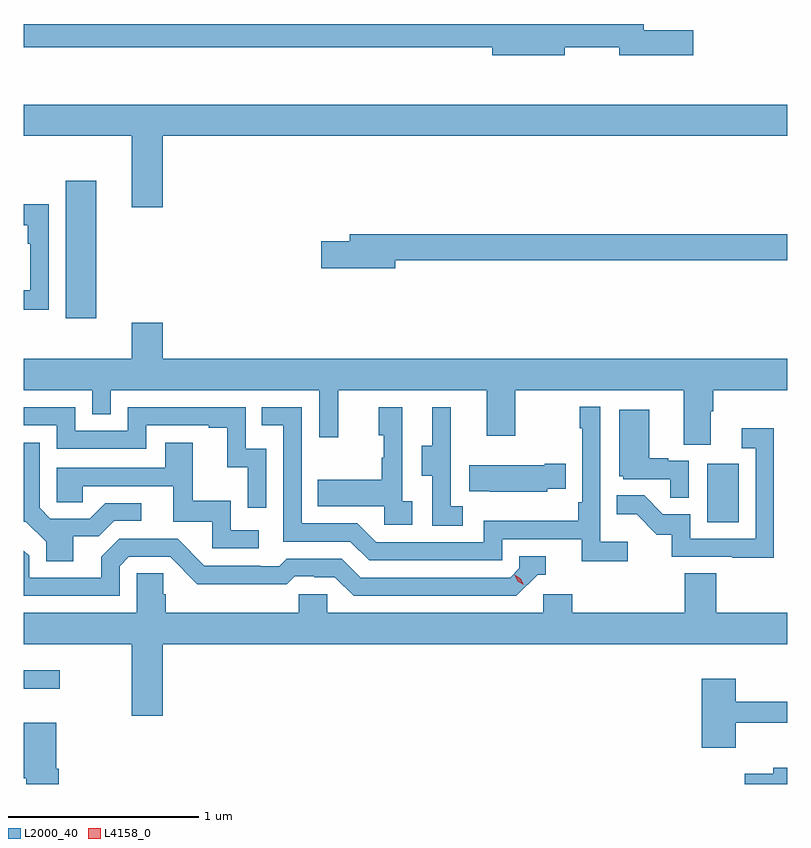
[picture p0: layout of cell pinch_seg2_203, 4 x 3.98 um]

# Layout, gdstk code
import gdstk
lib = gdstk.Library(unit=1e-6, precision=1e-09)
def R(c, l, rs):  # rectangles x0, y0, x1, y1
    for r in rs: c.add(gdstk.rectangle(r[:2], r[2:], *l))
def P(c, l, *ps):  # polygons
    for p in ps: c.add(gdstk.Polygon(p, *l))
L2000_40 = (2000, 40)
L4158_0 = (4158, 0)

pinch_seg2_203 = lib.new_cell('pinch_seg2_203')
R(pinch_seg2_203, L2000_40, [(967.64,658.059,967.828,658.156), (971.222,658.932,971.386,659.239), (967.859,660,968.02,660.721)])
P(pinch_seg2_203, L2000_40, [(970.474,661.422),(970.76,661.422),(970.76,661.379),(971.149,661.379),(971.149,661.509),(970.888,661.509),(970.888,661.543),(967.64,661.543),(967.64,661.422),(970.094,661.422),(970.094,661.379),(970.474,661.379)],
  [(968.368,660.956),(971.64,660.956),(971.64,661.12),(967.64,661.12),(967.64,660.956),(968.204,660.956),(968.204,660.582),(968.368,660.582)],
  [(967.77,660.598),(967.64,660.598),(967.64,660.488),(967.661,660.488),(967.661,660.392),(967.674,660.392),(967.674,660.147),(967.64,660.147),(967.64,660.046),(967.77,660.046)],
  [(969.586,660.304),(971.64,660.304),(971.64,660.44),(969.347,660.44),(969.347,660.404),(969.198,660.404),(969.198,660.262),(969.586,660.262)],
  [(971.239,659.512),(971.252,659.512),(971.252,659.624),(971.64,659.624),(971.64,659.788),(968.368,659.788),(968.368,659.977),(968.204,659.977),(968.204,659.788),(967.64,659.788),(967.64,659.624),(967.998,659.624),(967.998,659.497),(968.094,659.497),(968.094,659.624),(969.189,659.624),(969.189,659.376),(969.287,659.376),(969.287,659.624),(970.067,659.624),(970.067,659.385),(970.215,659.385),(970.215,659.624),(971.099,659.624),(971.099,659.338),(971.239,659.338)],
  [(970.804,658.828),(970.662,658.828),(970.662,659.536),(970.554,659.536),(970.554,659.423),(970.566,659.423),(970.566,659.035),(970.546,659.035),(970.546,658.939),(970.05,658.939),(970.05,658.827),(969.486,658.827),(969.387,658.926),(969.096,658.926),(969.096,659.535),(968.887,659.535),(968.887,659.439),(969,659.439),(969,658.83),(969.35,658.83),(969.449,658.731),(970.146,658.731),(970.146,658.842),(970.565,658.842),(970.565,658.726),(970.804,658.726)],
  [(968.91,659.316),(968.802,659.316),(968.802,659.535),(968.184,659.535),(968.184,659.412),(967.908,659.412),(967.908,659.535),(967.64,659.535),(967.64,659.439),(967.812,659.439),(967.812,659.316),(968.28,659.316),(968.28,659.439),(968.609,659.439),(968.609,659.427),(968.705,659.427),(968.705,659.219),(968.814,659.219),(968.814,659.007),(968.91,659.007)],
  [(969.676,659.042),(969.624,659.042),(969.624,659.533),(969.5,659.533),(969.5,659.388),(969.526,659.388),(969.526,659.27),(969.516,659.27),(969.516,659.155),(969.181,659.155),(969.181,659.015),(969.528,659.015),(969.528,658.917),(969.676,658.917)],
  [(969.94,659.015),(969.876,659.015),(969.876,659.319),(969.878,659.319),(969.878,659.533),(969.779,659.533),(969.779,659.331),(969.725,659.331),(969.725,659.176),(969.78,659.176),(969.78,658.912),(969.94,658.912)],
  [(971.124,659.253),(971.018,659.253),(971.018,659.266),(970.918,659.266),(970.918,659.521),(970.76,659.521),(970.76,659.172),(970.782,659.172),(970.782,659.157),(971.029,659.157),(971.029,659.059),(971.124,659.059)],
  [(971.571,659.425),(971.403,659.425),(971.403,659.319),(971.475,659.319),(971.475,658.845),(971.133,658.845),(971.133,658.974),(970.989,658.974),(970.891,659.072),(970.747,659.072),(970.747,658.973),(970.851,658.973),(970.958,658.866),(971.035,658.866),(971.035,658.749),(971.353,658.749),(971.353,658.744),(971.571,658.744)],
  [(968.872,658.89),(968.724,658.89),(968.724,659.044),(968.525,659.044),(968.525,659.347),(968.381,659.347),(968.381,659.217),(967.812,659.217),(967.812,659.037),(967.949,659.037),(967.949,659.121),(968.423,659.121),(968.423,658.935),(968.628,658.935),(968.628,658.794),(968.872,658.794)],
  [(967.897,658.858),(968.032,658.858),(968.112,658.938),(968.254,658.938),(968.254,659.031),(968.066,659.031),(967.985,658.95),(967.779,658.95),(967.722,659.007),(967.722,659.347),(967.64,659.347),(967.64,658.935),(967.65,658.935),(967.757,658.828),(967.757,658.726),(967.897,658.726)],
  [(970.383,659.108),(970.481,659.108),(970.481,659.238),(970.37,659.238),(970.37,659.23),(969.973,659.23),(969.973,659.093),(970.081,659.093),(970.081,659.09),(970.383,659.09)],
  [(968.142,658.701),(968.19,658.749),(968.406,658.749),(968.548,658.607),(968.784,658.607),(968.784,658.605),(969.017,658.605),(969.059,658.647),(969.162,658.647),(969.162,658.644),(969.269,658.644),(969.368,658.545),(970.221,658.545),(970.332,658.656),(970.375,658.656),(970.375,658.752),(970.236,658.752),(970.236,658.689),(970.188,658.641),(969.405,658.641),(969.306,658.74),(969.017,658.74),(968.978,658.701),(968.879,658.701),(968.879,658.704),(968.586,658.704),(968.445,658.845),(968.139,658.845),(968.045,658.751),(968.045,658.641),(967.668,658.641),(967.668,658.755),(967.64,658.783),(967.64,658.545),(968.142,658.545)],
  [(968.368,658.292),(971.64,658.292),(971.64,658.456),(971.27,658.456),(971.27,658.664),(971.105,658.664),(971.105,658.456),(970.514,658.456),(970.514,658.554),(970.362,658.554),(970.362,658.456),(969.231,658.456),(969.231,658.554),(969.081,658.554),(969.081,658.456),(968.384,658.456),(968.384,658.554),(968.369,658.554),(968.369,658.664),(968.232,658.664),(968.232,658.456),(967.64,658.456),(967.64,658.292),(968.204,658.292),(968.204,657.918),(968.368,657.918)],
  [(971.37,657.88),(971.64,657.88),(971.64,657.991),(971.37,657.991),(971.37,658.111),(971.192,658.111),(971.192,657.75),(971.37,657.75)],
  [(967.823,657.64),(967.81,657.64),(967.81,657.88),(967.64,657.88),(967.64,657.588),(967.652,657.588),(967.652,657.559),(967.823,657.559)],
  [(971.64,657.643),(971.567,657.643),(971.567,657.613),(971.418,657.613),(971.418,657.559),(971.64,657.559)])
P(pinch_seg2_203, L4158_0, [(970.259,658.603),(970.228,658.623),(970.213,658.656),(970.213,658.656),(970.213,658.656),(970.244,658.636),(970.259,658.603),(970.259,658.603)])

lib.write_gds('pinch_seg2_203.gds')
